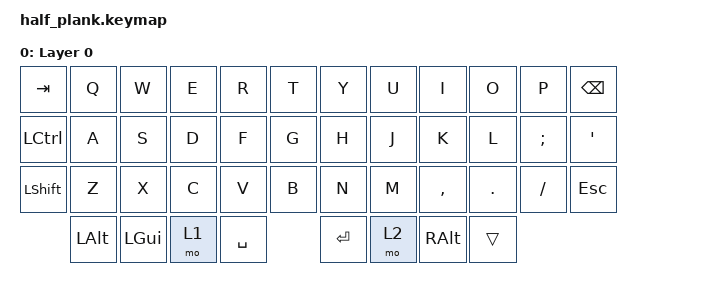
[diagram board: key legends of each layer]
#include <behaviors.dtsi>
#include <dt-bindings/zmk/keys.h>

/ {
    keymap {
        compatible = "zmk,keymap";

        default_layer { 
	    display-name = "Layer 0";
            bindings = <
   &kp TAB   &kp Q    &kp W &kp E &kp R &kp T    &kp Y &kp U  &kp I     &kp O   &kp P    &kp BSPC
   &kp LCTRL &kp A    &kp S &kp D &kp F &kp G    &kp H &kp J  &kp K     &kp L   &kp SEMI &kp SQT
   &kp LSHFT &kp Z    &kp X &kp C &kp V &kp B    &kp N &kp M  &kp COMMA &kp DOT &kp FSLH &kp ESC
             &kp LALT &kp LGUI &mo 1 &kp SPACE   &kp RET &mo 2 &kp RALT &trans
            >;

	lower_layer {
// -----------------------------------------------------------------------------------------
// |  TAB |  1  |  2  |  3  |  4  |  5  |   |  6  |  7  |  8  |  9  |  0  | BSPC |
// | BTCLR| BT1 | BT2 | BT3 | BT4 | BT5 |   | LFT | DWN |  UP | RGT |     |      |
// | SHFT |     |     |     |     |     |   |     |     |     |     |     |      |
//                    | GUI |     | SPC |   | ENT |     | ALT |
                        bindings = <
   &kp TAB    &kp N1       &kp N2       &kp N3       &kp N4       &kp N5         &kp N6   &kp N7   &kp N8 &kp N9    &kp N0 &kp BSPC
   &bt BT_CLR &bt BT_SEL 0 &bt BT_SEL 1 &bt BT_SEL 2 &bt BT_SEL 3 &bt BT_SEL 4   &kp LEFT &kp DOWN &kp UP &kp RIGHT &trans &trans
   &kp LSHFT  &trans       &trans       &trans       &trans       &trans         &trans   &trans   &trans &trans    &trans &trans
                               &trans     &kp LGUI     &trans       &kp SPACE      &kp RET  &trans   &kp RALT &trans
                        >;
              	  };

               	 raise_layer {
// -----------------------------------------------------------------------------------------
// |  TAB |  !  |  @  |  #  |  $  |  %  |   |  ^  |  &  |  *  |  (  |  )  | BSPC |
// | CTRL |     |     |     |     |     |   |  -  |  =  |  [  |  ]  |  \  |  `   |
// | SHFT |     |     |     |     |     |   |  _  |  +  |  {  |  }  | "|" |  ~   |
//                    | GUI |     | SPC |   | ENT |     | ALT |
                        bindings = <
   &kp  TAB  &kp EXCL &kp AT &kp HASH &kp DLLR &kp PRCNT   &kp CARET &kp AMPS  &kp ASTRK &kp LPAR &kp RPAR &kp BSPC
   &kp LCTRL &trans   &trans &trans   &trans   &trans      &kp MINUS &kp EQUAL &kp LBKT  &kp RBKT &kp BSLH &kp GRAVE
   &kp LSHFT &trans   &trans &trans   &trans   &trans      &kp UNDER &kp PLUS  &kp LBRC  &kp RBRC &kp PIPE &kp TILDE
                      &trans       &kp LGUI &trans   &kp SPACE   &kp RET   &trans    &kp RALT &trans
                        >;

 	       };
    extra1 {
            status = "reserved";
        };

        extra2 {
            status = "reserved";
        };
    };
 };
